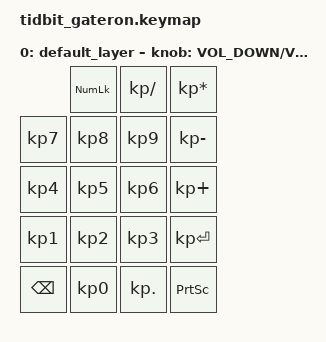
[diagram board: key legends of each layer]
/*
 * Copyright (c) 2025 The ZMK Contributors
 *
 * SPDX-License-Identifier: MIT
 */

#include <behaviors.dtsi>
#include <dt-bindings/zmk/bt.h>
#include <dt-bindings/zmk/keys.h>
#include <dt-bindings/zmk/outputs.h>


/* Enable ONLY ONE of the &encoder_1 nodes. They are wired to the same pins.*/
&encoder_1_top_row {
    status = "okay";
};

/* Add any encoder(s) you have enabled to the sensors node, separated by spaces. */
&sensors {
    sensors = <&encoder_1_top_row>;
};

/ {
    keymap {
        compatible = "zmk,keymap";

        default_layer {
            bindings = <
                            &kp KP_NUM  &kp KP_SLASH    &kp KP_ASTERISK
                &kp KP_N7   &kp KP_N8   &kp KP_N9       &kp KP_MINUS
                &kp KP_N4   &kp KP_N5   &kp KP_N6       &kp KP_PLUS
                &kp KP_N1   &kp KP_N2   &kp KP_N3       &kp KP_ENTER
                &kp BSPC    &kp KP_N0   &kp KP_DOT      &kp PRINTSCREEN
            >;

            sensor-bindings = <&inc_dec_kp C_VOLUME_DOWN C_VOLUME_UP>;
        };
    };
};
